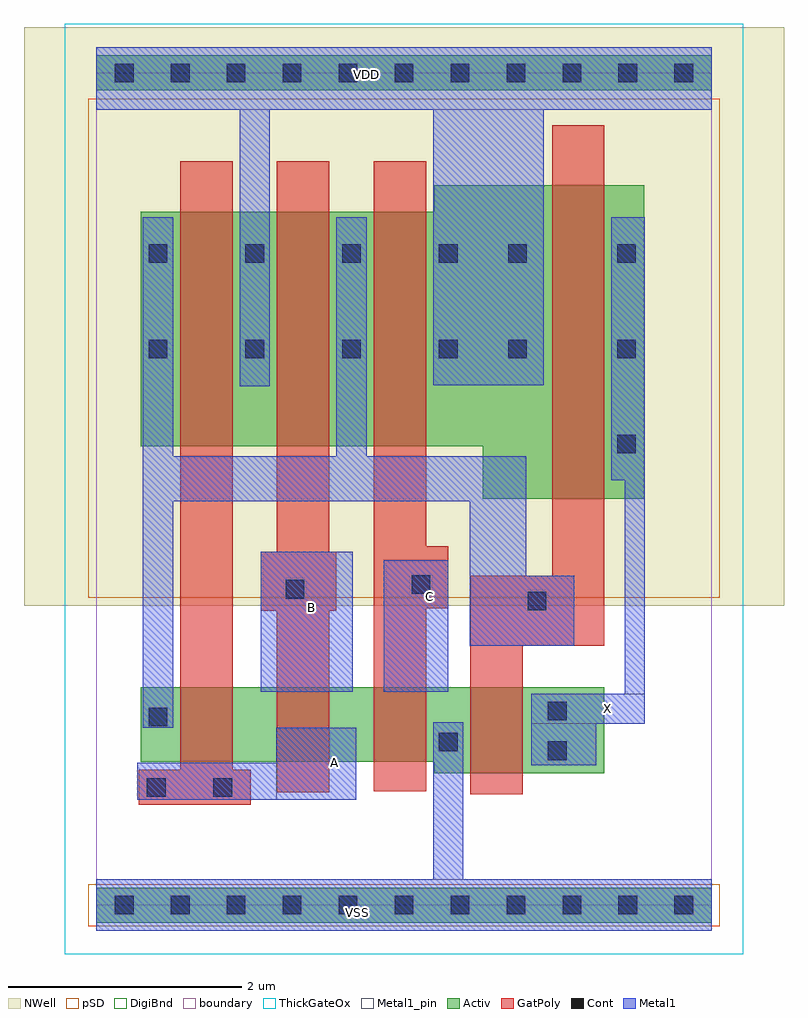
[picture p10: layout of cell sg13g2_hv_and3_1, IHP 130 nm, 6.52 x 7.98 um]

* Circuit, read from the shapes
.subckt sg13g2_hv_and3_1 A B C VDD VSS X
XM1 n1 A n2 VSS sg13_hv_nmos w=0.64u l=0.45u
XM2 n3 B n1 VSS sg13_hv_nmos w=0.64u l=0.45u
XM3 VSS C n3 VSS sg13_hv_nmos w=0.64u l=0.45u
XM4 X n2 VSS VSS sg13_hv_nmos w=0.74u l=0.45u
XM5 VDD A n2 VDD sg13_hv_pmos w=2.015u l=0.45u
XM6 n2 B VDD VDD sg13_hv_pmos w=2.015u l=0.45u
XM7 VDD C n2 VDD sg13_hv_pmos w=2.015u l=0.45u
XM8 X n2 VDD VDD sg13_hv_pmos w=2.69u l=0.45u
.ends

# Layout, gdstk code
import gdstk
lib = gdstk.Library(unit=1e-6, precision=1e-09)
def R(c, l, rs):  # rectangles x0, y0, x1, y1
    for r in rs: c.add(gdstk.rectangle(r[:2], r[2:], *l))
def A(c, l, x, y, w, h, nx, ny, dx, dy):  # array of equal rectangles
    R(c, l, [(x+i*dx, y+j*dy, x+i*dx+w, y+j*dy+h) for i in range(nx) for j in range(ny)])
def P(c, l, *ps):  # polygons
    for p in ps: c.add(gdstk.Polygon(p, *l))
Activ = (1, 0)
GatPoly = (5, 0)
Cont = (6, 0)
Metal1 = (8, 0)
Metal1_pin = (8, 2)
pSD = (14, 0)
DigiBnd = (16, 0)
NWell = (31, 0)
ThickGateOx = (44, 0)
boundary = (189, 4)

sg13g2_hv_and3_1 = lib.new_cell('sg13g2_hv_and3_1')
R(sg13g2_hv_and3_1, Activ, [(0,-0.15,5.28,0.15), (0,6.99,5.28,7.29)])
P(sg13g2_hv_and3_1, Activ, [(2.9,1.13),(2.9,1.23),(0.38,1.23),(0.38,1.87),(4.36,1.87),(4.36,1.13)],
  [(3.315,3.485),(3.315,3.935),(0.38,3.935),(0.38,5.95),(2.9,5.95),(2.9,6.175),(4.7,6.175),(4.7,3.485)])
P(sg13g2_hv_and3_1, GatPoly, [(0.365,0.86),(0.365,1.16),(0.72,1.16),(0.72,6.38),(1.17,6.38),(1.17,1.16),(1.325,1.16),(1.325,0.86)],
  [(1.55,0.97),(1.55,2.525),(1.41,2.525),(1.41,3.03),(1.55,3.03),(1.55,6.38),(2,6.38),(2,3.03),(2.06,3.03),(2.06,2.525),(2,2.525),(2,0.97)],
  [(2.38,0.975),(2.38,6.38),(2.83,6.38),(2.83,3.08),(3.02,3.08),(3.02,2.545),(2.83,2.545),(2.83,0.975)],
  [(3.21,0.95),(3.21,2.825),(3.91,2.825),(3.91,6.69),(4.36,6.69),(4.36,2.225),(3.66,2.225),(3.66,0.95)])
A(sg13g2_hv_and3_1, Cont, 0.16, -0.08, 0.16, 0.16, 11, 2, 0.48, 7.14)
A(sg13g2_hv_and3_1, Cont, 0.45, 4.69, 0.16, 0.16, 4, 2, 0.83, 0.82)
R(sg13g2_hv_and3_1, Cont, [(0.435,0.93,0.595,1.09), (1.005,0.93,1.165,1.09), (3.875,1.245,4.035,1.405), (2.94,1.32,3.1,1.48), (0.45,1.535,0.61,1.695), (3.875,1.585,4.035,1.745), (3.7,2.53,3.86,2.69), (1.625,2.63,1.785,2.79), (2.705,2.67,2.865,2.83), (4.47,3.875,4.63,4.035), (3.535,4.69,3.695,4.85), (4.47,4.69,4.63,4.85), (3.535,5.51,3.695,5.67), (4.47,5.51,4.63,5.67)])
R(sg13g2_hv_and3_1, Metal1, [(1.41,1.83,2.2,3.03), (2.465,1.83,3.02,2.96)])
P(sg13g2_hv_and3_1, Metal1, [(0.4,1.52),(0.4,5.9),(0.66,5.9),(0.66,3.85),(2.06,3.85),(2.06,5.9),(2.32,5.9),(2.32,3.85),(3.69,3.85),(3.69,2.825),(4.1,2.825),(4.1,2.225),(3.205,2.225),(3.205,3.465),(0.66,3.465),(0.66,1.52)],
  [(3.73,1.2),(3.73,1.815),(4.535,1.815),(4.535,3.645),(4.42,3.645),(4.42,5.9),(4.705,5.9),(4.705,1.555),(4.29,1.555),(4.29,1.2)],
  [(0.35,0.905),(0.35,1.22),(1.545,1.22),(1.545,1.52),(2.23,1.52),(2.23,0.905)],
  [(1.23,4.45),(1.23,6.825),(0,6.825),(0,7.36),(5.28,7.36),(5.28,6.825),(3.84,6.825),(3.84,4.46),(2.89,4.46),(2.89,6.825),(1.49,6.825),(1.49,4.45)],
  [(0,-0.22),(0,0.22),(2.89,0.22),(2.89,1.57),(3.15,1.57),(3.15,0.22),(5.28,0.22),(5.28,-0.22)])
R(sg13g2_hv_and3_1, Metal1_pin, [(0,-0.22,5.28,0.22), (1.545,0.905,2.23,1.52), (3.73,1.555,4.705,1.815), (1.41,1.83,2.2,3.03), (2.465,1.83,3.02,2.96), (0,6.825,5.28,7.36)])
R(sg13g2_hv_and3_1, pSD, [(-0.07,-0.18,5.35,0.18), (-0.07,2.635,5.35,6.92)])
R(sg13g2_hv_and3_1, DigiBnd, [(0,0,5.28,7.14)])
R(sg13g2_hv_and3_1, NWell, [(-0.62,2.57,5.9,7.53)])
R(sg13g2_hv_and3_1, ThickGateOx, [(-0.27,-0.42,5.55,7.56)])
R(sg13g2_hv_and3_1, boundary, [(0,0,5.28,7.14)])
sg13g2_hv_and3_1.add(gdstk.Label('X', (4.39,1.69), layer=8, texttype=25))
sg13g2_hv_and3_1.add(gdstk.Label('B', (1.845,2.555), layer=8, texttype=25))
sg13g2_hv_and3_1.add(gdstk.Label('VDD', (2.32,7.13), layer=8, texttype=25))
sg13g2_hv_and3_1.add(gdstk.Label('VSS', (2.24,-0.065), layer=8, texttype=25))
sg13g2_hv_and3_1.add(gdstk.Label('C', (2.86,2.645), layer=8, texttype=25))
sg13g2_hv_and3_1.add(gdstk.Label('A', (2.045,1.22), layer=8, texttype=25))

lib.write_gds('sg13g2_hv_and3_1.gds')
